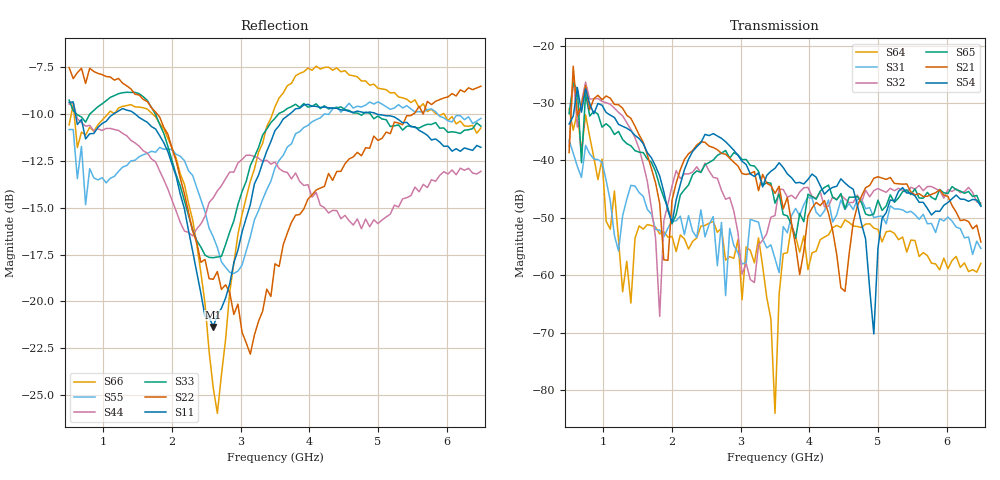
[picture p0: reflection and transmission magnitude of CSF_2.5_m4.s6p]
!Keysight Technologies,M9804A,MY58100912,A.14.10.03
!Date: Thursday, April 27, 2023 10:28:33
!Correction: S11(C  6-Port  )
!S12(C  6-Port  )
!S13(C  6-Port  )
!S14(C  6-Port  )
!S15(C  6-Port  )
!S16(C  6-Port  )
!S21(C  6-Port  )
!S22(C  6-Port  )
!S23(C  6-Port  )
!S24(C  6-Port  )
!S25(C  6-Port  )
!S26(C  6-Port  )
!S31(C  6-Port  )
!S32(C  6-Port  )
!S33(C  6-Port  )
!S34(C  6-Port  )
!S35(C  6-Port  )
!S36(C  6-Port  )
!S41(C  6-Port  )
!S42(C  6-Port  )
!S43(C  6-Port  )
!S44(C  6-Port  )
!S45(C  6-Port  )
!S46(C  6-Port  )
!S51(C  6-Port  )
!S52(C  6-Port  )
!S53(C  6-Port  )
!S54(C  6-Port  )
!S55(C  6-Port  )
!S56(C  6-Port  )
!S61(C  6-Port  )
!S62(C  6-Port  )
!S63(C  6-Port  )
!S64(C  6-Port  )
!S65(C  6-Port  )
!S66(C  6-Port  )
!S6P File: Measurement: :
# Hz S  RI  R 50
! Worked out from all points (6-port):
!   101 points, 500 MHz to 6.5 GHz, reference 50 ohm
!   strongest paths, dB at 500 MHz, 2 GHz, 3.5 GHz, 5 GHz, 6.5 GHz:
!     S54: -33.7, -50.9, -41.4, -55.3, -48.0
!     S21: -38.7, -46.9, -45.7, -42.9, -54.2
!     S65: -31.8, -51.0, -47.5, -46.9, -47.8
!     S32: -37.6, -44.4, -49.6, -44.9, -47.5
!     S31: -36.5, -50.6, -57.1, -49.8, -55.3
!     S64: -31.0, -53.2, -84.1, -52.0, -57.9
!   lowest |S11| = -21.4 dB at 2.6 GHz (marker M1), VSWR 1.19, Z = 42.4 + j2.25 ohm
!   |S11| at or under -10 dB: 592.7 MHz to 1.143 GHz (550.6 MHz wide, 63.4 % of centre); 1.467 GHz to 3.71 GHz (2.244 GHz wide, 86.7 % of centre); 4.989 GHz to end of sweep
